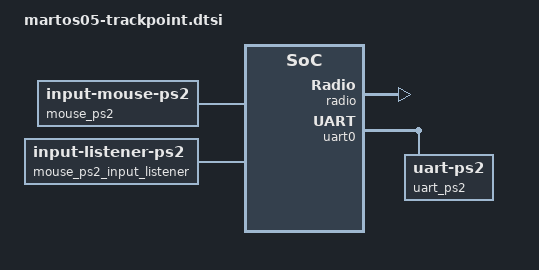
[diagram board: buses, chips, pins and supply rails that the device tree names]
/*
 * Trackpoint (PS/2 over UART) for martos05.
 *
 * Wiring:
 *   TP_DATA (SDA) → D0  (&pro_micro 0, P0.08)
 *   TP_CLK  (SCL) → D1  (&pro_micro 1, P0.06)
 *   No hardware reset line — relying on external POR circuit.
 *
 * Based on infused-kim's example zmk-config for the kb_zmk_ps2_mouse_
 * trackpoint_driver module.
 */

// --- User pin configuration --------------------------------------------------

// SCL = D1 (high-frequency pin, blue on nice!nano pinout)
#define MOUSE_PS2_PIN_SCL_PRO_MICRO <&pro_micro 1 GPIO_ACTIVE_HIGH>

// SDA = D0 (high-frequency pin, blue on nice!nano pinout)
#define MOUSE_PS2_PIN_SDA_PRO_MICRO <&pro_micro 0 GPIO_ACTIVE_HIGH>

// SDA in pinctrl notation — D0 = P0.08 on nice!nano v2
#define MOUSE_PS2_PIN_SDA_PINCTRL   <NRF_PSEL(UART_RX, 0, 8)>

// UART baud rate for PS/2 — 14400 matches standard IBM/Lenovo trackpoint
// clock (~14.5 kHz). Change only if logic-analyzer measurements differ.
#define MOUSE_PS2_UART_BAUD_RATE    <14400>

// Unexposed UART pins used as "parking" slots when the driver bit-bangs GPIO
// on the real SDA pin. Do NOT change these on nice!nano v2.
#define MOUSE_PS2_PIN_UNEXPOSED_TX  <NRF_PSEL(UART_TX, 0, 27)>
#define MOUSE_PS2_PIN_UNEXPOSED_RX  <NRF_PSEL(UART_RX, 0, 28)>


// --- Interrupt priority overrides (nice!nano v2) -----------------------------
//
// PS/2 must be serviced within ~30–50 us. BLE and default peripheral interrupts
// can block that long, which causes trackpoint lag and "sticky" movement.
// Promote GPIOTE to priority 0 and demote everything else to priority 3.

&gpiote     { interrupts = < 6 0 >; };
&clock      { interrupts = < 0 3 >; };
&power      { interrupts = < 0 3 >; };
&radio      { interrupts = < 1 3 >; };
&uart0      { interrupts = < 2 3 >; };
&i2c0       { interrupts = < 3 3 >; };
&spi0       { interrupts = < 3 3 >; };
&i2c1       { interrupts = < 4 3 >; };
&spi1       { interrupts = < 4 3 >; };
&nfct       { interrupts = < 5 3 >; };
&adc        { interrupts = < 7 3 >; };
&timer0     { interrupts = < 8 3 >; };
&timer1     { interrupts = < 9 3 >; };
&timer2     { interrupts = <10 3 >; };
&rtc0       { interrupts = <11 3 >; };
&temp       { interrupts = <12 3 >; };
&rng        { interrupts = <13 3 >; };
&ecb        { interrupts = <14 3 >; };
&ccm        { interrupts = <15 3 >; };
&wdt        { interrupts = <16 3 >; };
&rtc1       { interrupts = <17 3 >; };
&qdec       { interrupts = <18 3 >; };
&comp       { interrupts = <19 3 >; };
&egu0       { interrupts = <20 3 >; };
&egu1       { interrupts = <21 3 >; };
&egu2       { interrupts = <22 3 >; };
&egu3       { interrupts = <23 3 >; };
&egu4       { interrupts = <24 3 >; };
&egu5       { interrupts = <25 3 >; };
&timer3     { interrupts = <26 3 >; };
&timer4     { interrupts = <27 3 >; };
&pwm0       { interrupts = <28 3 >; };
&pdm0       { interrupts = <29 3 >; };
&pwm1       { interrupts = <33 3 >; };
&pwm2       { interrupts = <34 3 >; };
&spi2       { interrupts = <35 3 >; };
&rtc2       { interrupts = <36 3 >; };
&i2s0       { interrupts = <37 3 >; };
&usbd       { interrupts = <39 3 >; };
&uart1      { interrupts = <40 3 >; };
&qspi       { interrupts = <41 3 >; };
&pwm3       { interrupts = <45 3 >; };
&spi3       { interrupts = <47 3 >; };
&cryptocell { interrupts = <42 3 >; };


// --- Pinctrl states for uart0 in PS/2 mode -----------------------------------

&pinctrl {
    // Receive state: RX wired to the real SDA pin, TX parked on an
    // unexposed pin.
    uart0_ps2_default: uart0_ps2_default {
        group1 {
            psels = MOUSE_PS2_PIN_UNEXPOSED_TX,
                    MOUSE_PS2_PIN_SDA_PINCTRL;
        };
    };

    uart0_ps2_sleep: uart0_ps2_sleep {
        group1 {
            psels = MOUSE_PS2_PIN_UNEXPOSED_TX,
                    MOUSE_PS2_PIN_SDA_PINCTRL;
            low-power-enable;
        };
    };

    // Transmit state: both UART pins parked — the driver frees SDA for
    // GPIO bit-banging during PS/2 writes.
    uart0_ps2_off: uart0_ps2_off {
        group1 {
            psels = MOUSE_PS2_PIN_UNEXPOSED_TX,
                    MOUSE_PS2_PIN_UNEXPOSED_RX;
        };
    };
};


// --- uart0 reconfigured as PS/2 transport ------------------------------------

&uart0 {
    status = "okay";
    compatible = "nordic,nrf-uarte";

    current-speed = MOUSE_PS2_UART_BAUD_RATE;
    pinctrl-0 = <&uart0_ps2_default>;
    pinctrl-1 = <&uart0_ps2_off>;
    pinctrl-names = "default", "sleep";

    uart_ps2: uart_ps2 {
        status = "okay";
        compatible = "uart-ps2";
        scl-gpios = MOUSE_PS2_PIN_SCL_PRO_MICRO;
        sda-gpios = MOUSE_PS2_PIN_SDA_PRO_MICRO;
    };
};


// --- mouse_ps2 device + input listener ---------------------------------------

/ {
    mouse_ps2: mouse_ps2 {
        status = "okay";
        compatible = "zmk,input-mouse-ps2";
        ps2-device = <&uart_ps2>;
        // No rst-gpios — relying on external POR circuit for trackpoint init.
    };

    mouse_ps2_input_listener: mouse_ps2_input_listener {
        status = "okay";
        compatible = "zmk,input-listener-ps2";
        device = <&mouse_ps2>;

        // Physical trackpoint orientation: Y axis is flipped vs the driver's
        // expected convention — up/down come out swapped. X axis is fine.
        y-invert;
    };
};
